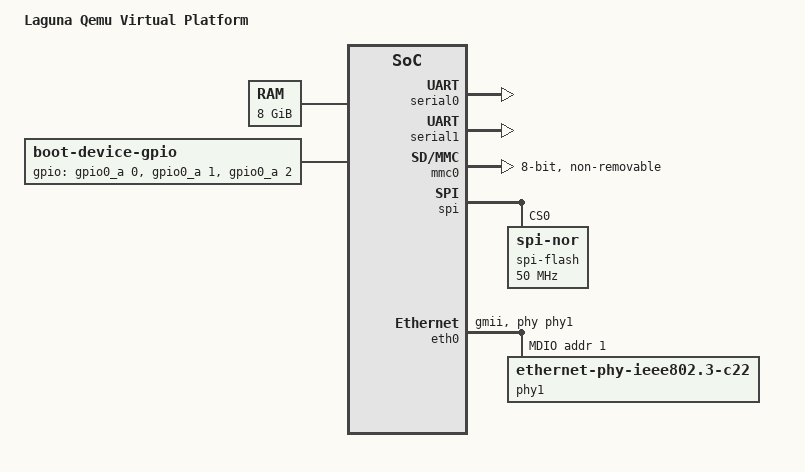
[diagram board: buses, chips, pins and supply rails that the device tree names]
/* SPDX-License-Identifier: GPL-2.0+
 *
 * Laguna Qemu Virtual Platform device tree
 *
 * Copyright (C) 2024 Charleye <wangkart@aliyun.com>
 */

/dts-v1/;
#include <dt-bindings/interrupt-controller/arm-gic.h>
#include <dt-bindings/gpio/gpio.h>

#include "laguna-gpios.dtsi"
/ {
	model = "Laguna Qemu Virtual Platform";
	compatible = "axera,laguna-virt";
	#address-cells = <2>;
	#size-cells = <2>;
	interrupt-parent = <&gic>;

	chosen {
		stdout-path = "serial0:115200n8";
	};

	memory {
		reg = <0x1 0x00000000 0x2 0x00000000>;
		device_type = "memory";
	};

	aliases {
		serial0 = &serial0;
		serial1 = &serial1;
	};

	psci {
		compatible = "arm,psci-0.2";
		method = "smc";
	};

	gic: interrupt-controller@08000000 {
		compatible = "arm,gic-400";
		#interrupt-cells = <3>;
		#address-cells = <2>;
		#size-cells = <2>;
		interrupt-controller;
		reg = <0x0 0x08001000 0x0 0x1000>,
			  <0x0 0x08002000 0x0 0x2000>;
		interrupts = <GIC_PPI 9 IRQ_TYPE_LEVEL_HIGH>;
	};

	boot-device {
		compatible = "boot-device-gpio";
		gpios = <&gpio0_a 0 GPIO_ACTIVE_HIGH>,
				<&gpio0_a 1 GPIO_ACTIVE_HIGH>,
				<&gpio0_a 2 GPIO_ACTIVE_HIGH>;
		u-boot,env-variable = "bootdevice";
		dev-eMMC = <0x01>;
		dev-NOR = <0x02>;
		dev-NAND = <0x03>;
		dev-UART = <0x04>;
		u-boot,dm-spl;
	};

	soc {
		compatible = "simple-bus";
		#address-cells = <2>;
		#size-cells = <2>;
		u-boot,dm-pre-reloc;
		u-boot,dm-spl;
		ranges;

		serial0: uart@0E403000 {
			compatible = "snps,dw-apb-uart";
			reg = <0x0 0x0E403000 0x0 0x1000>;
			reg-shift = <2>;
			reg-io-width = <4>;
			interrupts = <GIC_SPI 41 IRQ_TYPE_LEVEL_HIGH>;
			clock-frequency = <192000000>; //192MHz
			u-boot,dm-pre-reloc;
			u-boot,dm-spl;
			status = "okay";
		};

		serial1: uart@0E404000 {
			compatible = "snps,dw-apb-uart";
			reg = <0x0 0x0E404000 0x0 0x1000>;
			reg-shift = <2>;
			reg-io-width = <4>;
			interrupts = <GIC_SPI 42 IRQ_TYPE_LEVEL_HIGH>;
			clock-frequency = <192000000>;
			u-boot,dm-pre-reloc;
			u-boot,dm-spl;
			status = "okay";
		};

		mmc0: mmc@0C010000 {
			compatible = "axera,lua-dwcmshc";
			reg = <0x0 0x0C010000 0x0 0x2000>;
			interrupts = <0x0 0x0 0x4>;
			max-frequency = <200000000>;
			sdhci-caps-mask = <0xffffffff 0xffffffff>;
			sdhci-caps = <0x00000070 0x156ecc02>;
			bus-width = <8>;
			cap-mmc-highspeed;
			mmc-ddr-1_8v;
			mmc-hs200-1_8v;
			non-removable;
			no-sdio;
			no-sd;
			u-boot,dm-pre-reloc;
			u-boot,dm-spl;
			status = "okay";
		};

		mmc1: mmc@0C012000 {
			compatible = "axera,lua-dwcmshc";
			reg = <0x0 0x0C012000 0x0 0x2000>;
			interrupts = <0x0 0xa 0x4>;
			max-frequency = <200000000>;
			bus-width = <8>;
			mmc-ddr-1_8v;
			mmc-hs200-1_8v;
			status = "disabled";
		};

		spi: spi@0C040000 {
			#address-cells = <1>;
			#size-cells = <0>;
			compatible ="snps,dwc-ssi-1.01a";
			reg = <0x0 0x0C040000 0x0 0x1000>;
			interrupts = <GIC_SPI 3 IRQ_TYPE_LEVEL_HIGH>;
			/* Could possibly go up to 200 MHz */
			spi-max-frequency = <100000000>;
			num-cs = <4>;
			reg-io-width = <4>;
			u-boot,dm-pre-reloc;
			u-boot,dm-spl;
			status = "okay";

			spi-flash@0 {
				compatible = "jedec,spi-nor";
				reg = <0>;
				spi-max-frequency = <50000000>;
				spi-tx-bus-width = <4>;
				spi-rx-bus-width = <4>;
				m25p,fast-read;
				broken-flash-reset;
				u-boot,dm-pre-reloc;
				u-boot,dm-spl;
			};
		};

		eth0: ethernet@0E014000 {
			compatible = "axera,lua-dwmac-eqos";
			interrupts = <GIC_SPI 160 IRQ_TYPE_LEVEL_HIGH>;
			reg = <0x0 0x0E014000 0x0 0x4000>;
			phy-handle = <&phy1>;
			phy-mode = "gmii";
			// clock-names = "phy_ref_clk", "apb_pclk";
			// clocks = <&clkc 17>, <&clkc 15>;
			// phy-reset-gpios = <&gpioctlr 43 GPIO_ACTIVE_LOW>;

			snps,en-tx-lpi-clockgating;
			snps,en-lpi;
			snps,write-requests = <2>;
			snps,read-requests = <16>;
			snps,burst-map = <0x7>;
			snps,txpbl = <8>;
			snps,rxpbl = <2>;

			dma-coherent;

			mdio {
				#address-cells = <0x1>;
				#size-cells = <0x0>;
				phy1: phy@1 {
					compatible = "ethernet-phy-ieee802.3-c22";
					device_type = "ethernet-phy";
					reg = <0x1>;
				};
			};
		};
	};
};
